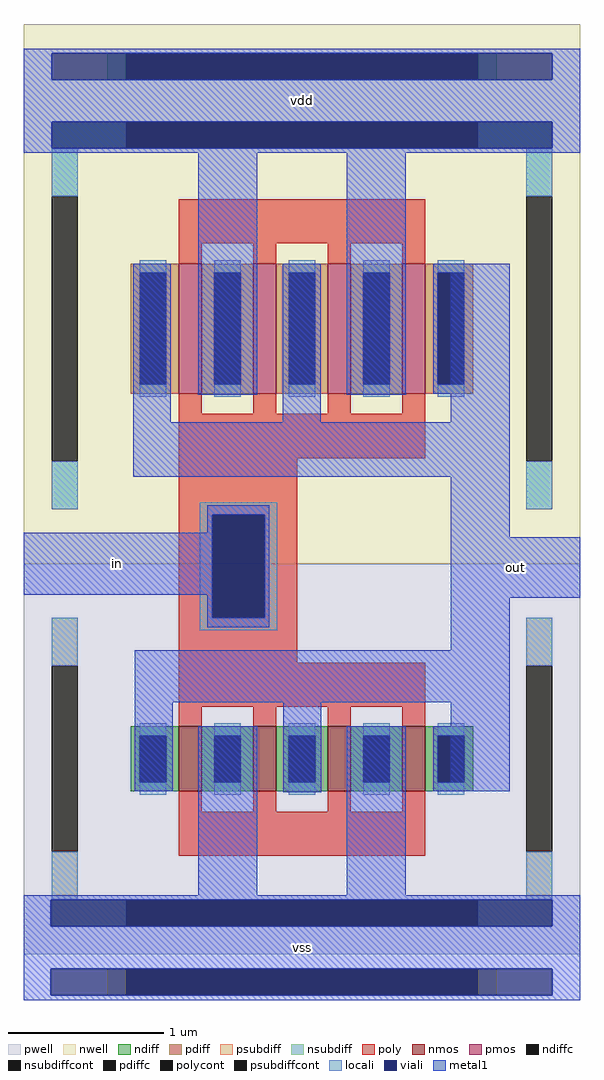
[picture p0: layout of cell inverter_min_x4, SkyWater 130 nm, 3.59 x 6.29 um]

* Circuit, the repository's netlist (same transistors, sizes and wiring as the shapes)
**.subckt inverter_min_x4 vss in out vdd
*.iopin vss
*.ipin in
*.opin out
*.iopin vdd
XM2 out in vdd vdd sky130_fd_pr__pfet_01v8 L=0.15 W=0.84 nf=1 ad='int((nf+1)/2) * W/nf * 0.29' as='int((nf+2)/2) * W/nf * 0.29'
+ pd='2*int((nf+1)/2) * (W/nf + 0.29)' ps='2*int((nf+2)/2) * (W/nf + 0.29)' nrd='0.29 / W' nrs='0.29 / W'
+ sa=0 sb=0 sd=0 mult=4 m=4 
XM1 out in vss vss sky130_fd_pr__nfet_01v8 L=0.15 W=0.42 nf=1 ad='int((nf+1)/2) * W/nf * 0.29' as='int((nf+2)/2) * W/nf * 0.29'
+ pd='2*int((nf+1)/2) * (W/nf + 0.29)' ps='2*int((nf+2)/2) * (W/nf + 0.29)' nrd='0.29 / W' nrs='0.29 / W'
+ sa=0 sb=0 sd=0 mult=4 m=4 
**.ends
** flattened .save nodes
.end

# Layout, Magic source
magic
tech sky130A
magscale 1 2
<< nwell >>
rect -53 531 665 643
<< psubdiff >>
rect 55 -610 79 -576
rect 533 -610 557 -576
<< nsubdiff >>
rect 55 571 79 605
rect 533 571 557 605
<< psubdiffcont >>
rect 79 -610 533 -576
<< nsubdiffcont >>
rect 79 571 533 605
<< poly >>
rect 147 360 465 417
rect 147 83 465 140
rect 147 10 300 83
rect 147 -123 190 10
rect 258 -123 300 10
rect 147 -181 300 -123
rect 147 -238 465 -181
rect 147 -430 465 -373
<< polycont >>
rect 190 -123 258 10
<< locali >>
rect 174 10 274 26
rect 174 -123 190 10
rect 258 -123 274 10
rect 174 -139 274 -123
<< viali >>
rect -17 571 79 605
rect 79 571 533 605
rect 533 571 629 605
rect -17 483 629 517
rect 190 -123 258 10
rect -18 -521 629 -487
rect -18 -610 79 -576
rect 79 -610 533 -576
rect 533 -610 629 -576
<< metal1 >>
rect -53 605 665 611
rect -53 571 -17 605
rect 629 571 665 605
rect -53 517 665 571
rect -53 483 -17 517
rect 629 483 665 517
rect -53 477 665 483
rect 88 129 137 334
rect 172 165 248 477
rect 281 129 330 333
rect 364 165 440 477
rect 498 129 574 334
rect 88 59 574 129
rect 184 10 264 22
rect 184 -13 190 10
rect -53 -93 190 -13
rect 184 -123 190 -93
rect 258 -123 264 10
rect 184 -135 264 -123
rect 498 -19 574 59
rect 498 -97 665 -19
rect 498 -165 574 -97
rect 90 -232 574 -165
rect 90 -347 139 -232
rect 172 -481 248 -263
rect 282 -348 331 -232
rect 364 -481 440 -263
rect 498 -347 574 -232
rect -53 -487 665 -481
rect -53 -521 -18 -487
rect 629 -521 665 -487
rect -53 -576 665 -521
rect -53 -610 -18 -576
rect 629 -610 665 -576
rect -53 -616 665 -610
use sky130_fd_pr__nfet_01v8_DXA56D  sky130_fd_pr__nfet_01v8_DXA56D_0
transform 1 0 306 0 1 -305
box -359 -252 359 252
use sky130_fd_pr__pfet_01v8_ZP3U9B  sky130_fd_pr__pfet_01v8_ZP3U9B_0
transform 1 0 306 0 1 250
box -359 -303 359 303
<< labels >>
rlabel metal1 -53 -576 665 -521 1 vss
rlabel metal1 -53 -93 190 -13 1 in
rlabel metal1 498 -97 665 -19 1 out
rlabel metal1 -53 517 665 571 1 vdd
<< end >>

# cell sky130_fd_pr__nfet_01v8_DXA56D: kit device sky130_fd_pr__nfet_01v8, w 0.420 l 0.150 m 1 nf 4 diffcov 100 polycov 100 guard 1 glc 1 grc 1 gtc 0 gbc 1 tbcov 100 rlcov 100 topc 0 botc 0 poverlap 0 doverlap 1 lmin 0.15 wmin 0.42 compatible {sky130_fd_pr__nfet_01v8 sky130_fd_pr__nfet_01v8_lvt sky130_fd_bs_flash__special_sonosfet_star sky130_fd_pr__nfet_g5v0d10v5 sky130_fd_pr__nfet_05v0_nvt sky130_fd_pr__nfet_03v3_nvt} full_metal 1 viasrc 100 viadrn 100 viagate 100 viagb 0 viagr 0 viagl 0 viagt 0

# cell sky130_fd_pr__pfet_01v8_ZP3U9B: kit device sky130_fd_pr__pfet_01v8, w 0.84 l 0.15 m 1 nf 4 diffcov 100 polycov 100 guard 1 glc 1 grc 1 gtc 1 gbc 0 tbcov 100 rlcov 100 topc 0 botc 0 poverlap 0 doverlap 1 lmin 0.15 wmin 0.42 compatible {sky130_fd_pr__pfet_01v8 sky130_fd_pr__pfet_01v8_lvt sky130_fd_pr__pfet_01v8_hvt sky130_fd_pr__pfet_g5v0d10v5} full_metal 1 viasrc 100 viadrn 100 viagate 100 viagb 0 viagr 0 viagl 0 viagt 0
